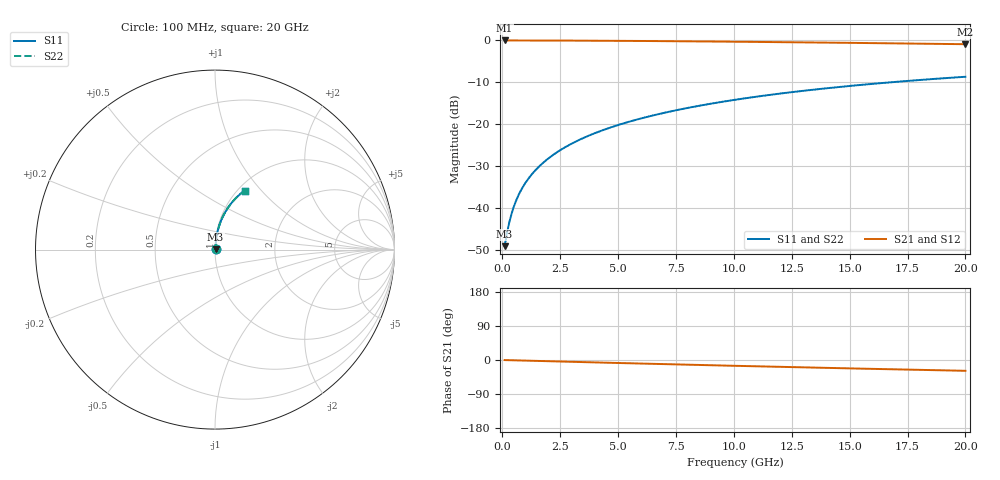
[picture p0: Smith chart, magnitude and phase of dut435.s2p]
! Touchstone file exported from HFSS 2024.1.0
!  File:  C:/UserFiles/LocalFiles/RDL_TSV_Batchsim/temp_RDL_bottom_435_1779684420.aedt
!  Generated:  12:49:42 PM May 25, 2026
!  Design:  RDL_bottom
!  Project:  temp_RDL_bottom_435_1779684420
!  Setup:  Setup1
!  Solution:  Sweep
! Variables:
!  dtsv = 10.80580581um
!  hbump = 3um
!  htsv = 66.49um
!  ldown = 300.21um
!  lrdl = 100um
!  p = 40
!  p1 = 58.88um
!  rhole = 1um
!  t = 450um
!  tdown = 3.11um
!  trdl = 3.915915916um
!  wdown = 12.63um
!  wrdl = 20um
# GHz S MA R 50.000000
! Terminal data exported
! Port[1] = RDL1_T1
! Port[2] = RDL1_T2
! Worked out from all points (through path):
!   200 points, 100 MHz to 20 GHz, reference 50 ohm
!   highest |S21| = -0.02 dB at 100 MHz (marker M1); lowest = -0.9 dB at 20 GHz (marker M2)
!   group delay of S21, straight-line fit = 3.96 ps
!   lowest |S11| = -49.1 dB at 100 MHz (marker M3), VSWR 1.01, Z = 50.3 + j0.202 ohm
!   |S11| at or under -10 dB: start of sweep to 16.8 GHz
!   |S22| runs from -49.1 to -8.7 dB; largest |S21 - S12| = 3.2e-15
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0.1  0.00349 35.1  0.9971 -0.2  0.9971 -0.2  0.00349 35.1
! Gamma 0 0 0 0
! Port Impedance 50 0 50 0
0.2  0.00494 54.1  0.9971 -0.3  0.9971 -0.3  0.00494 54.1
0.3  0.006675 63.7  0.997 -0.5  0.997 -0.5  0.006675 63.7
0.4  0.008511 69.1  0.997 -0.7  0.997 -0.7  0.008511 69.1
0.5  0.01039 72.6  0.9969 -0.8  0.9969 -0.8  0.01039 72.6
0.6  0.01228 74.9  0.9968 -1.0  0.9968 -1.0  0.01228 74.9
0.8  0.01608 77.9  0.9966 -1.3  0.9966 -1.3  0.01608 77.9
1.1  0.02181 80.3  0.9963 -1.8  0.9963 -1.8  0.02181 80.3
1.5  0.02949 81.9  0.9958 -2.4  0.9958 -2.4  0.02949 81.9
1.8  0.03527 82.6  0.9954 -2.9  0.9954 -2.9  0.03527 82.6
2.1  0.04106 83.0  0.9949 -3.4  0.9949 -3.4  0.04106 83.0
2.7  0.05269 83.3  0.9937 -4.3  0.9937 -4.3  0.05269 83.3
3.5  0.06825 83.1  0.9917 -5.6  0.9917 -5.6  0.06825 83.1
4.2  0.0819 82.7  0.9897 -6.7  0.9897 -6.7  0.0819 82.7
5  0.09752 82.1  0.987 -7.9  0.987 -7.9  0.09752 82.1
5.9  0.1151 81.2  0.9835 -9.3  0.9835 -9.3  0.1151 81.2
6.8  0.1327 80.2  0.9797 -10.6  0.9797 -10.6  0.1327 80.2
8.3  0.1617 78.4  0.9727 -12.8  0.9727 -12.8  0.1617 78.4
10.1  0.1962 76.2  0.9632 -15.4  0.9632 -15.4  0.1961 76.2
13.4  0.2571 71.8  0.9439 -20.0  0.9439 -20.0  0.2571 71.8
16.7  0.3145 67.5  0.9225 -24.4  0.9225 -24.4  0.3145 67.5
20  0.3676 63.4  0.8996 -28.5  0.8996 -28.5  0.3676 63.4
